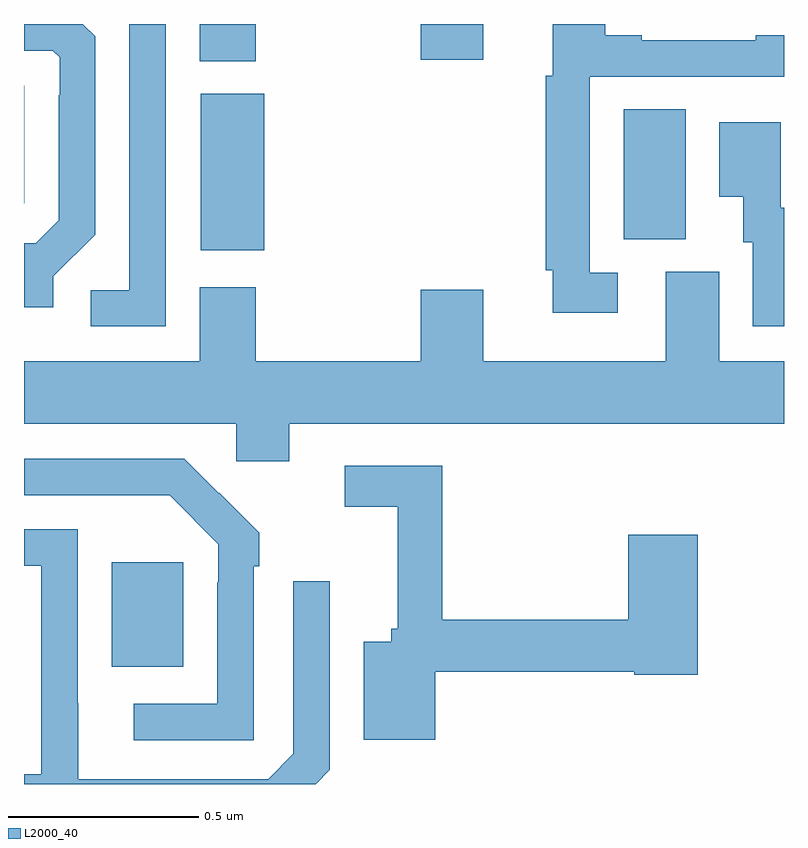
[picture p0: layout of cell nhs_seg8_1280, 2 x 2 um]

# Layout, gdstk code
import gdstk
lib = gdstk.Library(unit=1e-6, precision=1e-09)
def R(c, l, rs):  # rectangles x0, y0, x1, y1
    for r in rs: c.add(gdstk.rectangle(r[:2], r[2:], *l))
def P(c, l, *ps):  # polygons
    for p in ps: c.add(gdstk.Polygon(p, *l))
L2000_40 = (2000, 40)

nhs_seg8_1280 = lib.new_cell('nhs_seg8_1280')
R(nhs_seg8_1280, L2000_40, [(128.231,1101.209,128.419,1101.484), (128.465,1102.305,128.632,1102.717), (129.578,1102.333,129.742,1102.676), (128,1102.428,128.001,1102.737), (128.462,1102.802,128.61,1102.9), (129.044,1102.806,129.208,1102.9)])
P(nhs_seg8_1280, L2000_40, [(129.562,1102.245),(129.489,1102.245),(129.489,1102.761),(130,1102.761),(130,1102.87),(129.925,1102.87),(129.925,1102.857),(129.625,1102.857),(129.625,1102.87),(129.529,1102.87),(129.529,1102.9),(129.392,1102.9),(129.392,1102.764),(129.373,1102.764),(129.373,1102.252),(129.392,1102.252),(129.392,1102.14),(129.562,1102.14)],
  [(128.077,1102.236),(128.187,1102.346),(128.187,1102.868),(128.155,1102.9),(128,1102.9),(128,1102.83),(128.076,1102.83),(128.094,1102.812),(128.094,1102.712),(128.091,1102.712),(128.091,1102.383),(128.031,1102.323),(128,1102.323),(128,1102.154),(128.077,1102.154)],
  [(128.373,1102.9),(128.277,1102.9),(128.277,1102.2),(128.175,1102.2),(128.175,1102.104),(128.373,1102.104)],
  [(130,1102.416),(129.991,1102.416),(129.991,1102.642),(129.83,1102.642),(129.83,1102.445),(129.893,1102.445),(129.893,1102.326),(129.918,1102.326),(129.918,1102.104),(130,1102.104)],
  [(128.698,1101.848),(130,1101.848),(130,1102.012),(129.829,1102.012),(129.829,1102.248),(129.689,1102.248),(129.689,1102.012),(129.208,1102.012),(129.208,1102.201),(129.044,1102.201),(129.044,1102.012),(128.61,1102.012),(128.61,1102.207),(128.462,1102.207),(128.462,1102.012),(128,1102.012),(128,1101.848),(128.559,1101.848),(128.559,1101.75),(128.698,1101.75)],
  [(128.604,1101.473),(128.619,1101.473),(128.619,1101.561),(128.514,1101.666),(128.513,1101.665),(128.422,1101.756),(128,1101.756),(128,1101.66),(128.383,1101.66),(128.511,1101.531),(128.511,1101.431),(128.508,1101.431),(128.508,1101.111),(128.289,1101.111),(128.289,1101.015),(128.604,1101.015)],
  [(129.082,1101.196),(129.606,1101.196),(129.606,1101.188),(129.773,1101.188),(129.773,1101.556),(129.59,1101.556),(129.59,1101.332),(129.101,1101.332),(129.101,1101.738),(128.844,1101.738),(128.844,1101.63),(128.983,1101.63),(128.983,1101.309),(128.966,1101.309),(128.966,1101.274),(128.894,1101.274),(128.894,1101.017),(129.082,1101.017)],
  [(128.805,1100.937),(128.805,1101.433),(128.709,1101.433),(128.709,1100.979),(128.643,1100.913),(128.143,1100.913),(128.143,1101.113),(128.142,1101.113),(128.142,1101.57),(128,1101.57),(128,1101.474),(128.046,1101.474),(128.046,1100.926),(128,1100.926),(128,1100.9),(128.768,1100.9)])

lib.write_gds('nhs_seg8_1280.gds')
